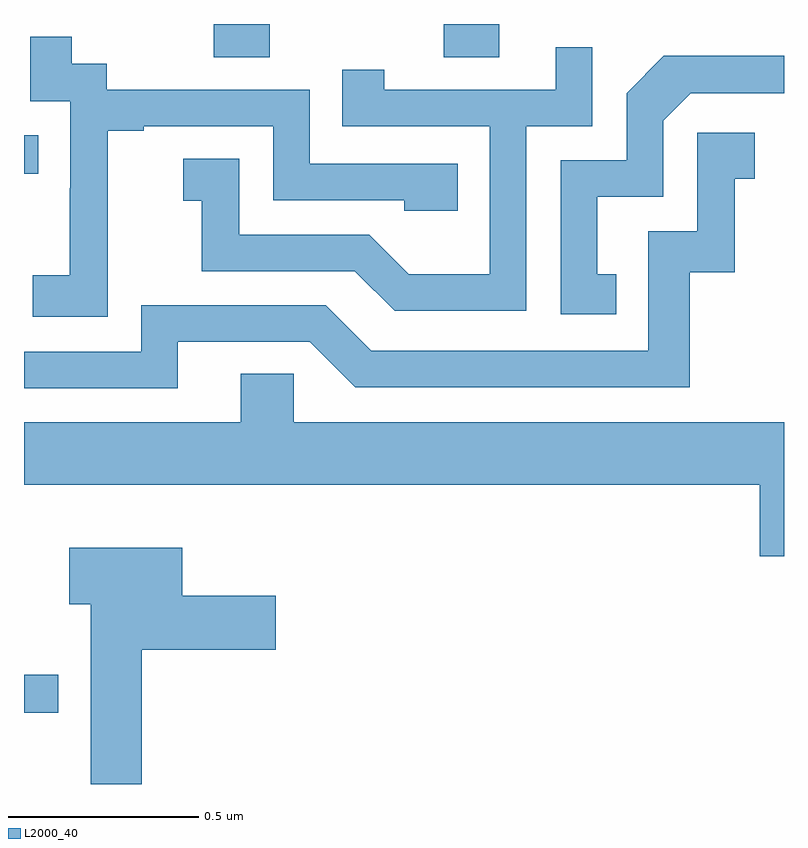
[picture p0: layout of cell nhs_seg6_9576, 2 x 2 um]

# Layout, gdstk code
import gdstk
lib = gdstk.Library(unit=1e-6, precision=1e-09)
def R(c, l, rs):  # rectangles x0, y0, x1, y1
    for r in rs: c.add(gdstk.rectangle(r[:2], r[2:], *l))
def P(c, l, *ps):  # polygons
    for p in ps: c.add(gdstk.Polygon(p, *l))
L2000_40 = (2000, 40)

nhs_seg6_9576 = lib.new_cell('nhs_seg6_9576')
R(nhs_seg6_9576, L2000_40, [(235,994.687,235.09,994.787), (235,996.106,235.037,996.207), (235.499,996.412,235.647,996.5), (236.104,996.412,236.251,996.5)])
P(nhs_seg6_9576, L2000_40, [(235.221,995.935),(235.22,995.935),(235.22,996.219),(235.315,996.219),(235.315,996.231),(235.656,996.231),(235.656,996.036),(236.001,996.036),(236.001,996.009),(236.141,996.009),(236.141,996.132),(235.752,996.132),(235.752,996.327),(235.218,996.327),(235.218,996.396),(235.126,996.396),(235.126,996.466),(235.017,996.466),(235.017,996.297),(235.122,996.297),(235.122,996.068),(235.121,996.068),(235.121,995.839),(235.023,995.839),(235.023,995.729),(235.221,995.729)],
  [(236.322,996.231),(236.496,996.231),(236.496,996.439),(236.399,996.439),(236.399,996.327),(235.948,996.327),(235.948,996.379),(235.837,996.379),(235.837,996.231),(236.226,996.231),(236.226,995.842),(236.012,995.842),(235.908,995.946),(235.566,995.946),(235.566,996.145),(235.419,996.145),(235.419,996.035),(235.468,996.035),(235.468,995.85),(235.871,995.85),(235.976,995.745),(236.322,995.745)],
  [(236.558,995.841),(236.509,995.841),(236.509,996.045),(236.682,996.045),(236.682,996.246),(236.754,996.318),(237,996.318),(237,996.416),(236.684,996.416),(236.586,996.318),(236.586,996.141),(236.412,996.141),(236.412,995.736),(236.558,995.736)],
  [(235.405,995.664),(235.752,995.664),(235.872,995.544),(236.752,995.544),(236.752,995.847),(236.87,995.847),(236.87,996.093),(236.923,996.093),(236.923,996.214),(236.772,996.214),(236.772,995.955),(236.643,995.955),(236.643,995.64),(235.914,995.64),(235.794,995.76),(235.308,995.76),(235.308,995.637),(235,995.637),(235,995.541),(235.405,995.541)],
  [(237,995.452),(235.71,995.452),(235.71,995.579),(235.571,995.579),(235.571,995.452),(235,995.452),(235,995.288),(236.936,995.288),(236.936,995.1),(237,995.1)],
  [(235.31,994.853),(235.663,994.853),(235.663,994.995),(235.417,994.995),(235.417,995.122),(235.119,995.122),(235.119,994.973),(235.175,994.973),(235.175,994.5),(235.31,994.5)])

lib.write_gds('nhs_seg6_9576.gds')
